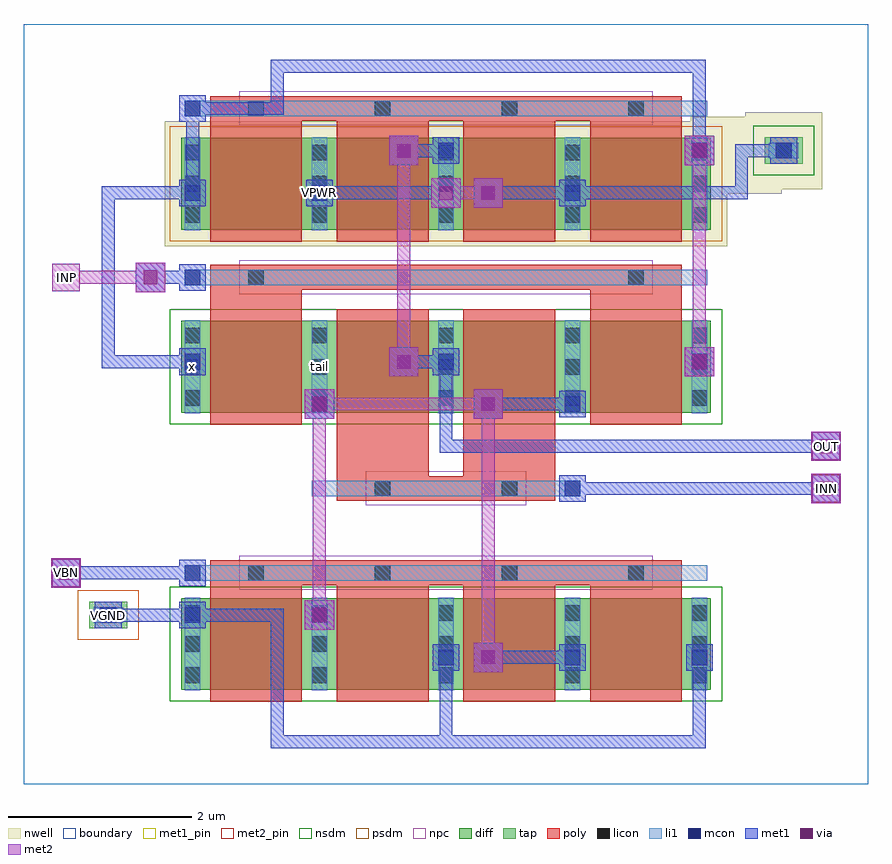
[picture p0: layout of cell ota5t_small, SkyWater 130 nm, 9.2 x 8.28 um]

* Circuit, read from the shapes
.subckt ota5t_small INN INP OUT VBN VGND VPWR tail x
XM1 tail VBN VGND VGND sky130_fd_pr__nfet_01v8 w=1 l=1 m=4
XM2 tail INP x VGND sky130_fd_pr__nfet_01v8 w=1 l=1 m=2
XM3 OUT INN tail VGND sky130_fd_pr__nfet_01v8 w=1 l=1 m=2
XM4 VPWR x x VPWR sky130_fd_pr__pfet_01v8 w=1 l=1 m=2
XM5 OUT x VPWR VPWR sky130_fd_pr__pfet_01v8 w=1 l=1 m=2
.ends

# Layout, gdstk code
import gdstk
lib = gdstk.Library(unit=1e-6, precision=1e-09)
def R(c, l, rs):  # rectangles x0, y0, x1, y1
    for r in rs: c.add(gdstk.rectangle(r[:2], r[2:], *l))
def A(c, l, x, y, w, h, nx, ny, dx, dy):  # array of equal rectangles
    R(c, l, [(x+i*dx, y+j*dy, x+i*dx+w, y+j*dy+h) for i in range(nx) for j in range(ny)])
nwell = (64, 20)
diff = (65, 20)
tap = (65, 44)
poly = (66, 20)
licon = (66, 44)
li1 = (67, 20)
mcon = (67, 44)
met1_pin = (68, 16)
met1 = (68, 20)
via = (68, 44)
met2_pin = (69, 16)
met2 = (69, 20)
nsdm = (93, 44)
psdm = (94, 20)
npc = (95, 20)
boundary = (235, 4)

ota5t_small = lib.new_cell('ota5t_small')
R(ota5t_small, nwell, [(1.535,5.86,7.665,6.43), (1.535,6.43,8.257,6.48), (1.535,6.48,8.7,7.22), (7.268,7.22,8.7,7.27), (7.86,7.27,8.7,7.32)])
R(ota5t_small, diff, [(1.715,1.025,7.485,2.025), (1.715,4.045,7.485,5.045), (1.715,6.04,7.485,7.04)])
R(ota5t_small, tap, [(0.715,1.695,1.125,1.985), (8.075,6.755,8.485,7.045)])
A(ota5t_small, poly, 2.03, 0.895, 1, 1.405, 4, 1, 1.38, 0)
A(ota5t_small, poly, 2.03, 5.91, 1, 1.45, 4, 1, 1.38, 0)
R(ota5t_small, poly, [(2.03,2.165,7.17,2.435), (3.41,3.085,5.79,3.355), (3.41,3.22,4.41,5.175), (4.79,3.22,5.79,5.175), (2.03,3.915,3.03,5.52), (6.17,3.915,7.17,5.52), (2.03,5.385,7.17,5.655), (2.03,7.225,7.17,7.495)])
A(ota5t_small, licon, 1.755, 1.1, 0.17, 0.17, 5, 3, 1.38, 0.34)
A(ota5t_small, licon, 2.445, 2.215, 0.17, 0.17, 4, 2, 1.38, 5.06)
A(ota5t_small, licon, 1.755, 4.12, 0.17, 0.17, 5, 3, 1.38, 0.34)
A(ota5t_small, licon, 1.755, 6.115, 0.17, 0.17, 5, 3, 1.38, 0.34)
R(ota5t_small, licon, [(0.835,1.755,1.005,1.925), (3.825,3.135,3.995,3.305), (5.205,3.135,5.375,3.305), (2.445,5.435,2.615,5.605), (6.585,5.435,6.755,5.605), (8.195,6.815,8.365,6.985)])
A(ota5t_small, li1, 1.755, 1.02, 0.17, 1.01, 5, 2, 1.38, 3.02)
A(ota5t_small, li1, 1.755, 6.035, 0.17, 1.01, 5, 1, 1.38, 0)
R(ota5t_small, li1, [(0.755,1.755,1.085,1.925), (1.755,2.215,7.445,2.385), (3.135,3.135,6.065,3.305), (1.755,5.435,7.445,5.605), (8.115,6.815,8.445,6.985), (1.755,7.275,7.445,7.445)])
A(ota5t_small, mcon, 4.515, 1.295, 0.17, 0.17, 3, 1, 1.38, 0)
A(ota5t_small, mcon, 3.135, 1.755, 0.17, 0.17, 1, 3, 0, 2.3)
A(ota5t_small, mcon, 1.755, 4.515, 0.17, 0.17, 3, 1, 2.76, 0)
A(ota5t_small, mcon, 1.755, 5.435, 0.17, 0.17, 1, 3, 0, 0.92)
R(ota5t_small, mcon, [(0.835,1.755,1.005,1.925), (1.755,1.755,1.925,1.925), (1.755,2.215,1.925,2.385), (5.895,3.135,6.065,3.305), (5.895,4.055,6.065,4.225), (5.895,6.355,6.065,6.525), (4.515,6.815,4.685,6.985), (7.275,6.815,7.445,6.985), (8.195,6.815,8.365,6.985)])
R(ota5t_small, met1_pin, [(0.85,1.77,0.99,1.91), (3.075,6.295,3.365,6.585)])
A(ota5t_small, met1, 4.455, 1.235, 0.29, 0.29, 3, 1, 1.38, 0)
A(ota5t_small, met1, 3.075, 1.695, 0.29, 0.29, 1, 3, 0, 2.3)
A(ota5t_small, met1, 1.695, 4.455, 0.29, 0.29, 3, 1, 2.76, 0)
A(ota5t_small, met1, 1.695, 5.375, 0.29, 0.29, 1, 3, 0, 0.92)
R(ota5t_small, met1, [(2.69,0.39,4.67,0.53), (2.69,0.39,2.83,1.91), (4.53,0.39,4.67,1.45), (4.53,0.39,7.43,0.53), (7.29,0.39,7.43,1.45), (4.9,1.22,5.22,1.54), (4.99,1.31,6.05,1.45), (3.06,1.68,3.38,2), (0.775,1.695,1.065,1.985), (1.695,1.695,1.985,1.985), (0.85,1.77,1.91,1.91), (0.85,1.77,0.99,1.91), (1.77,1.77,2.83,1.91), (0.3,2.14,0.62,2.46), (1.695,2.155,1.985,2.445), (0.39,2.23,1.91,2.37), (8.58,3.06,8.9,3.38), (5.835,3.075,6.125,3.365), (5.91,3.15,8.81,3.29), (8.58,3.52,8.9,3.84), (4.53,3.61,4.67,4.67), (4.53,3.61,8.81,3.75), (3.06,3.98,3.38,4.3), (4.9,3.98,5.22,4.3), (5.835,3.995,6.125,4.285), (4.99,4.07,6.05,4.21), (3.98,4.44,4.3,4.76), (7.2,4.44,7.52,4.76), (0.85,4.53,1.91,4.67), (0.85,4.53,0.99,6.51), (4.07,4.53,4.67,4.67), (1.22,5.36,1.54,5.68), (1.31,5.45,1.91,5.59), (4.44,6.28,4.76,6.6), (4.9,6.28,5.22,6.6), (5.835,6.295,6.125,6.585), (0.85,6.37,1.91,6.51), (1.77,6.37,1.91,7.43), (3.15,6.37,4.67,6.51), (4.99,6.37,6.05,6.51), (5.91,6.37,7.89,6.51), (7.75,6.37,7.89,6.97), (3.98,6.74,4.3,7.06), (7.2,6.74,7.52,7.06), (4.455,6.755,4.745,7.045), (7.215,6.755,7.505,7.045), (8.135,6.755,8.425,7.045), (4.07,6.83,4.67,6.97), (7.29,6.83,7.43,7.89), (7.75,6.83,8.35,6.97), (8.21,6.83,8.35,6.97), (1.77,7.29,2.83,7.43), (2.69,7.29,2.83,7.89), (2.69,7.75,7.43,7.89)])
R(ota5t_small, via, [(4.985,1.305,5.135,1.455), (3.145,1.765,3.295,1.915), (0.385,2.225,0.535,2.375), (8.665,3.145,8.815,3.295), (8.665,3.605,8.815,3.755), (3.145,4.065,3.295,4.215), (4.985,4.065,5.135,4.215), (4.065,4.525,4.215,4.675), (7.285,4.525,7.435,4.675), (1.305,5.445,1.455,5.595), (4.525,6.365,4.675,6.515), (4.985,6.365,5.135,6.515), (4.065,6.825,4.215,6.975), (7.285,6.825,7.435,6.975)])
R(ota5t_small, met2_pin, [(0.31,2.15,0.61,2.45), (8.59,3.07,8.89,3.37), (8.59,3.53,8.89,3.83), (0.31,5.37,0.61,5.67)])
R(ota5t_small, met2, [(4.9,1.22,5.22,1.54), (4.99,1.31,5.13,4.21), (3.06,1.68,3.38,2), (3.15,1.77,3.29,4.21), (0.3,2.14,0.62,2.46), (0.31,2.15,0.61,2.45), (0.39,2.23,0.53,2.37), (8.58,3.06,8.9,3.38), (8.59,3.07,8.89,3.37), (8.67,3.15,8.81,3.29), (8.58,3.52,8.9,3.84), (8.59,3.53,8.89,3.83), (8.67,3.61,8.81,3.75), (3.06,3.98,3.38,4.3), (4.9,3.98,5.22,4.3), (3.15,4.07,5.13,4.21), (3.98,4.44,4.3,4.76), (7.2,4.44,7.52,4.76), (4.07,4.53,4.21,6.97), (7.29,4.53,7.43,6.97), (1.22,5.36,1.54,5.68), (0.31,5.37,0.61,5.67), (0.39,5.45,0.53,5.59), (0.39,5.45,1.45,5.59), (4.44,6.28,4.76,6.6), (4.9,6.28,5.22,6.6), (4.53,6.37,5.13,6.51), (3.98,6.74,4.3,7.06), (7.2,6.74,7.52,7.06)])
R(ota5t_small, nsdm, [(1.59,0.9,7.61,2.15), (1.59,3.92,7.61,5.17), (7.95,6.63,8.61,7.17)])
R(ota5t_small, psdm, [(0.59,1.57,1.25,2.11), (1.59,5.915,7.61,7.165)])
R(ota5t_small, npc, [(2.345,2.115,6.855,2.485), (3.725,3.035,5.475,3.405), (2.345,5.335,6.855,5.705), (2.345,7.175,6.855,7.545)])
R(ota5t_small, boundary, [(0,0,9.2,8.28)])
ota5t_small.add(gdstk.Label('x', (1.84,4.545), layer=67, texttype=5))
ota5t_small.add(gdstk.Label('tail', (3.22,4.545), layer=67, texttype=5))
ota5t_small.add(gdstk.Label('VPWR', (3.22,6.44), layer=68, texttype=5))
ota5t_small.add(gdstk.Label('VGND', (0.92,1.84), layer=68, texttype=5))
ota5t_small.add(gdstk.Label('INP', (0.46,5.52), layer=69, texttype=5))
ota5t_small.add(gdstk.Label('INN', (8.74,3.22), layer=69, texttype=5))
ota5t_small.add(gdstk.Label('VBN', (0.46,2.3), layer=69, texttype=5))
ota5t_small.add(gdstk.Label('OUT', (8.74,3.68), layer=69, texttype=5))
ota5t_small.add(gdstk.Label('VPWR', (3.22,6.44), layer=68, texttype=16))
ota5t_small.add(gdstk.Label('VGND', (0.92,1.84), layer=68, texttype=16))
ota5t_small.add(gdstk.Label('INP', (0.46,5.52), layer=69, texttype=16))
ota5t_small.add(gdstk.Label('INN', (8.74,3.22), layer=69, texttype=16))
ota5t_small.add(gdstk.Label('VBN', (0.46,2.3), layer=69, texttype=16))
ota5t_small.add(gdstk.Label('OUT', (8.74,3.68), layer=69, texttype=16))

lib.write_gds('ota5t_small.gds')
